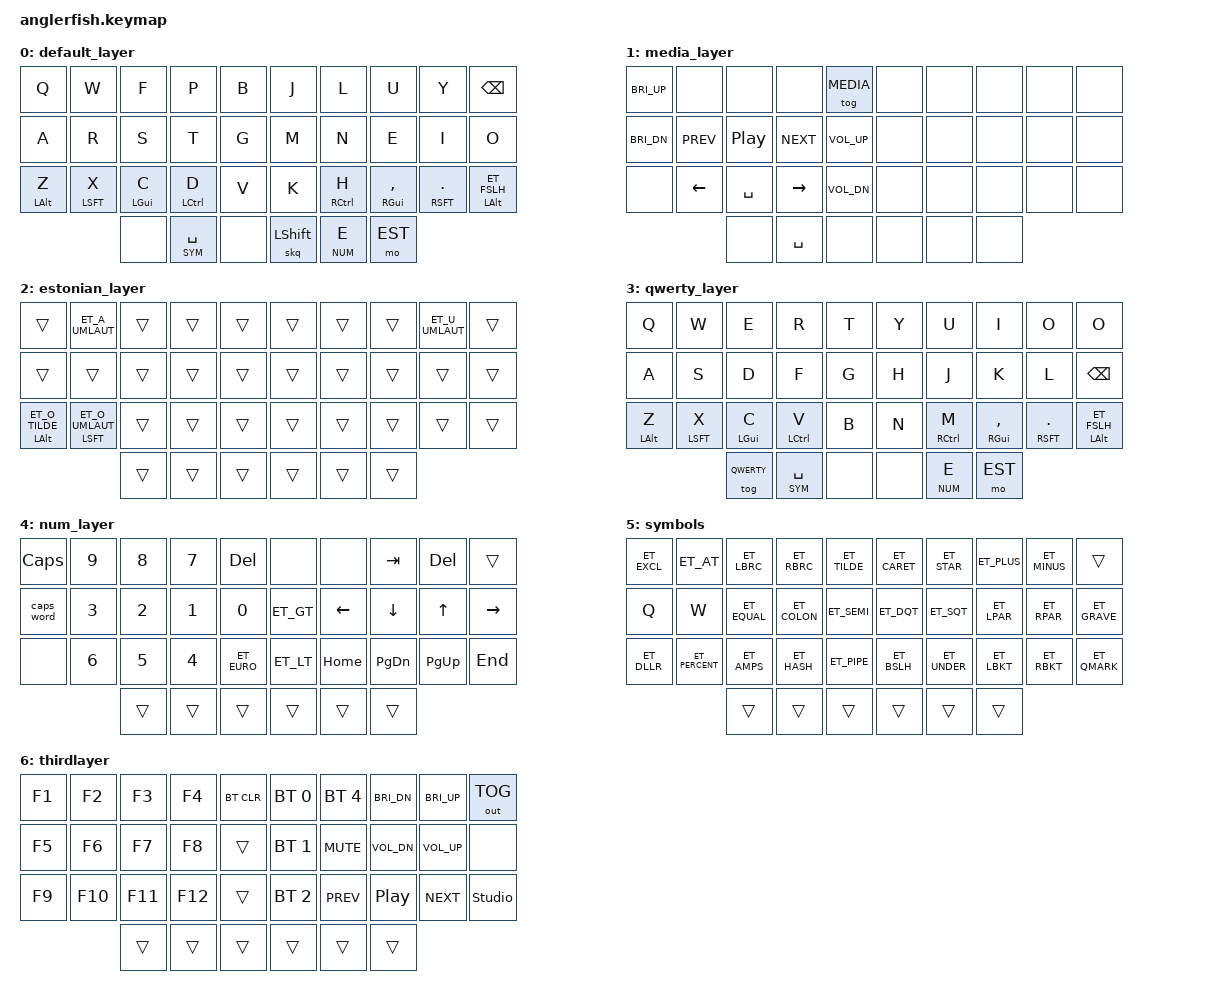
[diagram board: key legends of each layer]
#include <behaviors.dtsi>
#include <dt-bindings/zmk/keys.h>
#include <dt-bindings/zmk/bt.h>
#include <dt-bindings/zmk/outputs.h>
#include "keys_et.h"

#define DFLT    0
#define MEDIA   1
#define EST     2
#define QWERTY  3
#define NUM     4
#define SYM     5
#define XTRA    6

// TODO
// [x] add missing characters
// [x] fix third layer combo
// [x] add Estonian layer support
// [x] add qwerty support

/ {

conditional_layers {
    compatible = "zmk,conditional-layers";
    tri_layer {
        if-layers = <NUM SYM>;
        then-layer = <XTRA>;
    };
};

combos {
    compatible = "zmk,combos";
    timeout-ms = <50>;

    combo_kill_window {
        key-positions = <13 14>;
        bindings = <&kp LALT F4>;
    };

    combo_num_layer {
        key-positions = <31 32>;
        bindings = <&mo NUM>;
    };

    combo_symbol_layer {
        key-positions = <33 34>;
        bindings = <&mo SYM>;
    };

    combo_ESC {
        key-positions = <1 2>;
        bindings = <&kp ESC>;
    };

    combo_MEDIA {
        key-positions = <20 21 22 23>;
        bindings = <&tog MEDIA>;
    };

    combo_ENTER {
        key-positions = <3 4>;
        bindings = <&kp ENTER>;
    };

    combo_bootloader_left {
        key-positions = <0 4 20 24>;
        bindings = <&bootloader>;
    };

    combo_bootloader_right {
        key-positions = <5 9 25 29>;
        bindings = <&bootloader>;
    };
};


//   0  1  2  3  4          5  6  7  8  9
//  10 11 12 13 14          15 16 17 18 19
//  20 21 22 23 24          25 26 27 28 29
//           30 31 32    33 34 35

// right
// 5 6 7 8 9 15 16 17 18 19 25 26 27 28 29 33 34 35

// left
// 0 1 2 3 4 10 11 12 13 14 20 21 22 23 24 30 31 32
         



behaviors {
    // homerow mods
    lhm: left_homerow_mods {
        compatible = "zmk,behavior-hold-tap";
        #binding-cells = <2>;
        tapping-term-ms = <150>;
        quick-tap-ms = <150>;
        require-prior-idle-ms = <125>;
        flavor = "balanced";
        bindings = <&kp>, <&kp>;
        hold-trigger-key-positions = <5 6 7 8 9 15 16 17 18 19 25 26 27 28 29 33 34 35>; // <---[[right-hand keys + thumb keys]]
        hold-trigger-on-release;
    };
    rhm: right_homerow_mods {
        compatible = "zmk,behavior-hold-tap";
        #binding-cells = <2>;
        tapping-term-ms = <150>;
        quick-tap-ms = <150>;
        require-prior-idle-ms = <125>;
        flavor = "balanced";
        bindings = <&kp>, <&kp>;
        hold-trigger-key-positions = <0 1 2 3 4 10 11 12 13 14 20 21 22 23 24 30 31 32>; // <---[[left-hand keys + thumb keys]]
        hold-trigger-on-release;
    };
    skq: sticky_key_quick_release {
        compatible = "zmk,behavior-sticky-key";
        #binding-cells = <1>;
        bindings = <&kp>;
        release-after-ms = <1000>;
        quick-release;
        ignore-modifiers;
      };
    mo_tog: behavior_mo_tog {
        compatible = "zmk,behavior-hold-tap";
        #binding-cells = <2>;
        flavor = "hold-preferred";
        tapping-term-ms = <200>;
        bindings = <&kp>, <&tog>;
    };
};

keymap {
    compatible = "zmk,keymap";

    default_layer {
        bindings = <
&kp Q       &kp W       &kp F       &kp P       &kp B          &kp J     &kp L       &kp U           &kp Y          &kp BSPC
&kp A       &kp R       &kp S       &kp T       &kp G          &kp M     &kp N       &kp E           &kp I          &kp O
&lhm LALT Z &lhm LSFT X &lhm LGUI C &lhm LCTL D &kp V          &kp K     &rhm RCTL H &rhm RGUI COMMA &rhm RSFT DOT &rhm LALT ET_FSLH
                        &none     &lt SYM SPACE &none          &skq LSHIFT &lt NUM E &mo EST
        >;
    };

    media_layer {
        bindings = <
&kp C_BRI_UP &none        &none        &none      &tog MEDIA     &none &none &none &none &none
&kp C_BRI_DN &kp C_PREV   &kp C_PP     &kp C_NEXT &kp C_VOL_UP   &none &none &none &none &none
&none        &kp LEFT     &kp SPACE    &kp RIGHT  &kp C_VOL_DN   &none &none &none &none &none
                          &none        &kp SPACE  &none          &none &none &none

        >;
    };

    estonian_layer {
        bindings = <
&trans               &kp ET_A_UMLAUT       &trans &trans &trans      &trans &trans &trans &kp ET_U_UMLAUT &trans
&trans               &trans                &trans &trans &trans      &trans &trans &trans &trans          &trans
&lhm LALT ET_O_TILDE &lhm LSFT ET_O_UMLAUT &trans &trans &trans      &trans &trans &trans &trans          &trans
                                           &trans &trans &trans      &trans &trans &trans
        >;
    };


    qwerty_layer {
        bindings = <
&kp Q       &kp W       &kp E         &kp R         &kp T                 &kp Y      &kp U        &kp I           &kp O         &kp O
&kp A       &kp S       &kp D         &kp F         &kp G                 &kp H      &kp J        &kp K           &kp L         &kp BSPC   
&lhm LALT Z &lhm LSFT X &lhm LGUI C   &lhm LCTL V   &kp B                 &kp N      &rhm RCTL M  &rhm RGUI COMMA &rhm RSFT DOT &rhm LALT ET_FSLH
                        &tog QWERTY   &lt SYM SPACE &none                 &none      &lt NUM E    &mo EST
        >;
    };

    num_layer {
        bindings = <
&kp CAPS   &kp N9   &kp N8   &kp N7    &kp DEL                      &none         &none       &kp TAB     &kp DEL     &trans
&caps_word &kp N3   &kp N2   &kp N1    &kp N0                       &kp ET_GT     &kp LEFT    &kp DOWN    &kp UP      &kp RIGHT
&none      &kp N6   &kp N5   &kp N4    &kp ET_EURO                  &kp ET_LT     &kp  HOME   &kp  PG_DN  &kp PG_UP   &kp END
                    &trans   &trans    &trans                       &trans        &trans      &trans
        >;
    };

// these symbols aren't supported yet: §±

    symbols {
        bindings = <
&kp ET_EXCL &kp ET_AT      &kp ET_LBRC  &kp ET_RBRC  &kp ET_TILDE      &kp ET_CARET &kp ET_STAR  &kp ET_PLUS &kp ET_MINUS  &trans    
&kp Q       &kp W          &kp ET_EQUAL &kp ET_COLON &kp ET_SEMI       &kp ET_DQT   &kp ET_SQT   &kp ET_LPAR &kp ET_RPAR   &kp ET_GRAVE
&kp ET_DLLR &kp ET_PERCENT &kp ET_AMPS  &kp ET_HASH  &kp ET_PIPE       &kp ET_BSLH  &kp ET_UNDER &kp ET_LBKT &kp ET_RBKT   &kp ET_QMARK
                           &trans       &trans       &trans            &trans       &trans       &trans
        >;
    };

    thirdlayer {
        bindings = <
&kp F1   &kp F2   &kp F3   &kp F4    &bt BT_CLR                    &bt BT_SEL 0 &bt BT_SEL 4 &kp C_BRI_DN &kp C_BRI_UP     &out OUT_TOG
&kp F5   &kp F6   &kp F7   &kp F8    &trans                        &bt BT_SEL 1 &kp C_MUTE   &kp C_VOL_DN &kp C_VOL_UP     &none
&kp F9   &kp F10  &kp F11  &kp F12   &trans                        &bt BT_SEL 2 &kp C_PREV   &kp C_PP     &kp C_NEXT       &studio_unlock
                                &trans &trans &trans         &trans    &trans    &trans
        >;
    };
};
};
